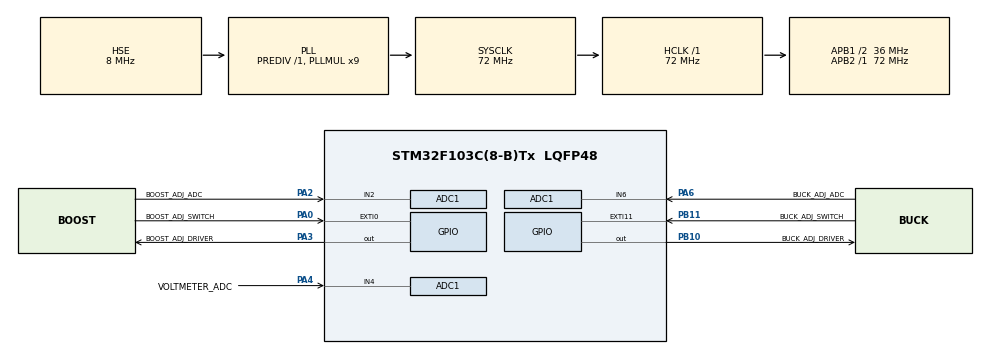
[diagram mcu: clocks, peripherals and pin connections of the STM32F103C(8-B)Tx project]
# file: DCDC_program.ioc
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ADC1.Channel-0\#ChannelRegularConversion=ADC_CHANNEL_6
ADC1.Channel-1\#ChannelRegularConversion=ADC_CHANNEL_2
ADC1.Channel-2\#ChannelRegularConversion=ADC_CHANNEL_4
ADC1.ContinuousConvMode=ENABLE
ADC1.NbrOfConversion=3
ADC1.NbrOfConversionFlag=1
ADC1.Rank-0\#ChannelRegularConversion=1
ADC1.Rank-1\#ChannelRegularConversion=2
ADC1.Rank-2\#ChannelRegularConversion=3
ADC1.SamplingTime-0\#ChannelRegularConversion=ADC_SAMPLETIME_71CYCLES_5
ADC1.SamplingTime-1\#ChannelRegularConversion=ADC_SAMPLETIME_71CYCLES_5
ADC1.SamplingTime-2\#ChannelRegularConversion=ADC_SAMPLETIME_71CYCLES_5
ADC1.master=1
Dma.ADC1.0.Direction=DMA_PERIPH_TO_MEMORY
Dma.ADC1.0.Instance=DMA1_Channel1
Dma.ADC1.0.MemDataAlignment=DMA_MDATAALIGN_HALFWORD
Dma.ADC1.0.MemInc=DMA_MINC_ENABLE
Dma.ADC1.0.Mode=DMA_CIRCULAR
Dma.ADC1.0.PeriphDataAlignment=DMA_PDATAALIGN_HALFWORD
Dma.ADC1.0.PeriphInc=DMA_PINC_DISABLE
Dma.ADC1.0.Priority=DMA_PRIORITY_LOW
Dma.Request0=ADC1
Mcu.Family=STM32F1
Mcu.Name=STM32F103C(8-B)Tx
Mcu.Package=LQFP48
NVIC.DMA1_Channel1_IRQn=true\:3\:0\:false\:false\:true\:false\:true\:true
NVIC.EXTI0_IRQn=true\:0\:0\:false\:false\:true\:true\:true\:true
NVIC.EXTI15_10_IRQn=true\:0\:0\:false\:false\:true\:true\:true\:true
NVIC.PriorityGroup=NVIC_PRIORITYGROUP_4
NVIC.TIM2_IRQn=true\:1\:0\:true\:false\:true\:true\:true\:true
NVIC.TIM3_IRQn=true\:1\:0\:true\:false\:true\:true\:true\:true
PA0-WKUP.GPIO_Label=BOOST_ADJ_SWITCH
PA0-WKUP.GPIO_ModeDefaultEXTI=GPIO_MODE_IT_RISING_FALLING
PA0-WKUP.GPIO_PuPd=GPIO_PULLDOWN
PA0-WKUP.Signal=GPXTI0
PA13.Mode=Serial_Wire
PA13.Signal=SYS_JTMS-SWDIO
PA14.Mode=Serial_Wire
PA14.Signal=SYS_JTCK-SWCLK
PA2.GPIO_Label=BOOST_ADJ_ADC
PA2.Signal=ADCx_IN2
PA3.GPIO_Label=BOOST_ADJ_DRIVER
PA3.Signal=GPIO_Output
PA4.GPIO_Label=VOLTMETER_ADC
PA4.Signal=ADCx_IN4
PA6.GPIO_Label=BUCK_ADJ_ADC
PA6.Signal=ADCx_IN6
PB10.GPIO_Label=BUCK_ADJ_DRIVER
PB10.PinState=GPIO_PIN_SET
PB10.Signal=GPIO_Output
PB11.GPIO_Label=BUCK_ADJ_SWITCH
PB11.GPIO_ModeDefaultEXTI=GPIO_MODE_IT_RISING_FALLING
PB11.GPIO_PuPd=GPIO_PULLDOWN
PB11.Signal=GPXTI11
PD0-OSC_IN.Mode=HSE-External-Oscillator
PD0-OSC_IN.Signal=RCC_OSC_IN
PD1-OSC_OUT.Mode=HSE-External-Oscillator
PD1-OSC_OUT.Signal=RCC_OSC_OUT
ProjectManager.HeapSize=0x200
ProjectManager.StackSize=0x400
ProjectManager.TargetToolchain=CMake
RCC.ADCPresc=RCC_ADCPCLK2_DIV6
RCC.AHBFreq_Value=72000000
RCC.APB1CLKDivider=RCC_HCLK_DIV2
RCC.APB1Freq_Value=36000000
RCC.APB1TimFreq_Value=72000000
RCC.APB2Freq_Value=72000000
RCC.APB2TimFreq_Value=72000000
RCC.HCLKFreq_Value=72000000
RCC.PLLMUL=RCC_PLL_MUL9
RCC.PLLSourceVirtual=RCC_PLLSOURCE_HSE
RCC.SYSCLKFreq_VALUE=72000000
RCC.SYSCLKSource=RCC_SYSCLKSOURCE_PLLCLK
RCC.USBFreq_Value=72000000
SH.ADCx_IN2.0=ADC1_IN2,IN2
SH.ADCx_IN4.0=ADC1_IN4,IN4
SH.ADCx_IN6.0=ADC1_IN6,IN6
TIM2.Period=20000-1
TIM2.Prescaler=72-1
TIM3.Period=20000-1
TIM3.Prescaler=72-1
VP_TIM2_VS_ClockSourceINT.Mode=Internal
VP_TIM3_VS_ClockSourceINT.Mode=Internal
board=custom

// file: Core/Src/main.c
/* USER CODE BEGIN Header */
/**
  ******************************************************************************
  * @file           : main.c
  * @brief          : Main program body
  ******************************************************************************
  * @attention
  *
  * Copyright (c) 2026 STMicroelectronics.
  * All rights reserved.
  *
  * This software is licensed under terms that can be found in the LICENSE file
  * in the root directory of this software component.
  * If no LICENSE file comes with this software, it is provided AS-IS.
  *
  ******************************************************************************
  */
/* USER CODE END Header */
#include "main.h"
#include "adc.h"
#include "dma.h"
#include "tim.h"
#include "gpio.h"

/* USER CODE BEGIN Includes */
#include "oled.h"
#include "switches.h"
#include "oled_show.h"
/* USER CODE END Includes */

/* USER CODE BEGIN PV */
//adc_data[0]: buck_adj, adc_data[1]: boost_adj, adc_data[2]: voltmeter
volatile uint16_t adc_data[3] = {0};
/* USER CODE END PV */

void SystemClock_Config(void);

int main(void)
{

  /* MCU Configuration--------------------------------------------------------*/

  /* Reset of all peripherals, Initializes the Flash interface and the Systick. */
  HAL_Init();

  /* Configure the system clock */
  SystemClock_Config();

  /* Initialize all configured peripherals */
  MX_GPIO_Init();
  MX_DMA_Init();
  MX_TIM3_Init();
  MX_TIM2_Init();
  MX_ADC1_Init();
  /* USER CODE BEGIN 2 */
  HAL_ADCEx_Calibration_Start(&hadc1);
  OLED_Init();
  OLED_ShowString(1, 1, "DCDC_BUCK_BOOST");
  OLED_ShowString(2, 1, "BUCK_ADJ :");
  OLED_ShowString(3, 1, "BOOST_ADJ:");
  OLED_ShowString(4, 1, "Voltmeter:");

  HAL_ADC_Start_DMA(&hadc1, (uint32_t*)adc_data, 3);
  /* 不使用 DMA 传输完成回调，关闭 TC 中断，避免 48kHz 中断持续打断软件 I2C */
  __HAL_DMA_DISABLE_IT(hadc1.DMA_Handle, DMA_IT_TC);

  switches_state_init();
  /* USER CODE END 2 */

  /* Infinite loop */
  /* USER CODE BEGIN WHILE */
  uint32_t last_refresh = HAL_GetTick();

  while (1)
  {
      if ((HAL_GetTick() - last_refresh) >= 100U)
      {
          last_refresh += 100U;
          //电压转换
          voltage_conversion();
          //电压显示
          voltage_display();
      }

      __WFI();

    /* USER CODE END WHILE */

  }
}

void SystemClock_Config(void)
{
  RCC_OscInitTypeDef RCC_OscInitStruct = {0};
  RCC_ClkInitTypeDef RCC_ClkInitStruct = {0};
  RCC_PeriphCLKInitTypeDef PeriphClkInit = {0};

  /** Initializes the RCC Oscillators according to the specified parameters
  * in the RCC_OscInitTypeDef structure.
  */
  RCC_OscInitStruct.OscillatorType = RCC_OSCILLATORTYPE_HSE;
  RCC_OscInitStruct.HSEState = RCC_HSE_ON;
  RCC_OscInitStruct.HSEPredivValue = RCC_HSE_PREDIV_DIV1;
  RCC_OscInitStruct.HSIState = RCC_HSI_ON;
  RCC_OscInitStruct.PLL.PLLState = RCC_PLL_ON;
  RCC_OscInitStruct.PLL.PLLSource = RCC_PLLSOURCE_HSE;
  RCC_OscInitStruct.PLL.PLLMUL = RCC_PLL_MUL9;
  if (HAL_RCC_OscConfig(&RCC_OscInitStruct) != HAL_OK)
  {
    Error_Handler();
  }

  /** Initializes the CPU, AHB and APB buses clocks
  */
  RCC_ClkInitStruct.ClockType = RCC_CLOCKTYPE_HCLK|RCC_CLOCKTYPE_SYSCLK
                              |RCC_CLOCKTYPE_PCLK1|RCC_CLOCKTYPE_PCLK2;
  RCC_ClkInitStruct.SYSCLKSource = RCC_SYSCLKSOURCE_PLLCLK;
  RCC_ClkInitStruct.AHBCLKDivider = RCC_SYSCLK_DIV1;
  RCC_ClkInitStruct.APB1CLKDivider = RCC_HCLK_DIV2;
  RCC_ClkInitStruct.APB2CLKDivider = RCC_HCLK_DIV1;

  if (HAL_RCC_ClockConfig(&RCC_ClkInitStruct, FLASH_LATENCY_2) != HAL_OK)
  {
    Error_Handler();
  }
  PeriphClkInit.PeriphClockSelection = RCC_PERIPHCLK_ADC;
  PeriphClkInit.AdcClockSelection = RCC_ADCPCLK2_DIV6;
  if (HAL_RCCEx_PeriphCLKConfig(&PeriphClkInit) != HAL_OK)
  {
    Error_Handler();
  }
}

void Error_Handler(void)
{
  __disable_irq();
  while (1)
  {
  }
}
